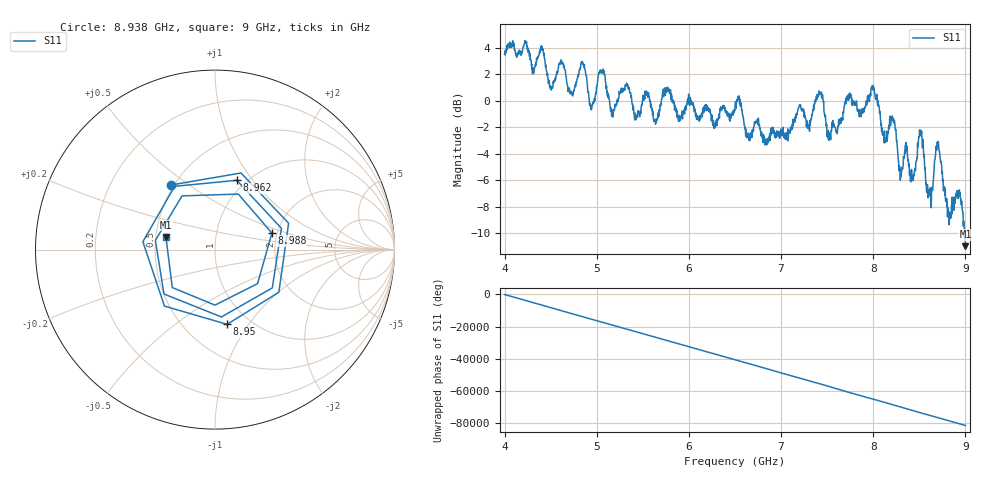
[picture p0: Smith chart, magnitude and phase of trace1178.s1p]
! Created with skrf 1.8.0 (http://scikit-rf.org).
# Hz S RI R 50.0
!freq ReS11 ImS11
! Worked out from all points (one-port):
!   1601 points, 4 GHz to 9 GHz, reference 50 ohm
!   lowest |S11| = -11.0 dB at 9 GHz (marker M1), VSWR 1.79, Z = 28.3 + j4.31 ohm
!   |S11| at or under -10 dB: 8.989536 GHz to 8.996274 GHz (6.738 MHz wide, 0.0749 % of centre); 8.997176 GHz to end of sweep
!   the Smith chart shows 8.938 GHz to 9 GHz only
!   S11 on the Smith chart (normalised r, x): 8.938 GHz: 0.48, +0.43; 8.95 GHz: 0.79, -0.80; 8.962 GHz: 0.91, +0.84; 8.988 GHz: 1.88, +0.39; 9 GHz: 0.57, +0.09
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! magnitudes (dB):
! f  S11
! 4 GHz  3.5
! 4.625 GHz  2.9
! 4.731 GHz  0.5
! 4.853 GHz  2.8
! 4.944 GHz  -0.6
! 5.047 GHz  2.3
! 5.25 GHz  0.6
! 5.875 GHz  -1.0
! 6.5 GHz  -0.6
! 7.125 GHz  -1.8
! 7.428 GHz  0.5
! 7.522 GHz  -2.9
! 7.75 GHz  0.4
! 8 GHz  1.1
! 8.122 GHz  -2.3
! 8.222 GHz  -1.5
! 8.297 GHz  -5.5
! 8.375 GHz  -4.4
! 8.428 GHz  -6.0
! 8.516 GHz  -2.2
! 8.619 GHz  -7.2
! 8.7 GHz  -3.4
! 8.822 GHz  -8.4
! 8.938 GHz  -7.2
! 8.95 GHz  -7.5
! 8.962 GHz  -7.9
! 8.988 GHz  -9.6
! 9 GHz  -11.0
